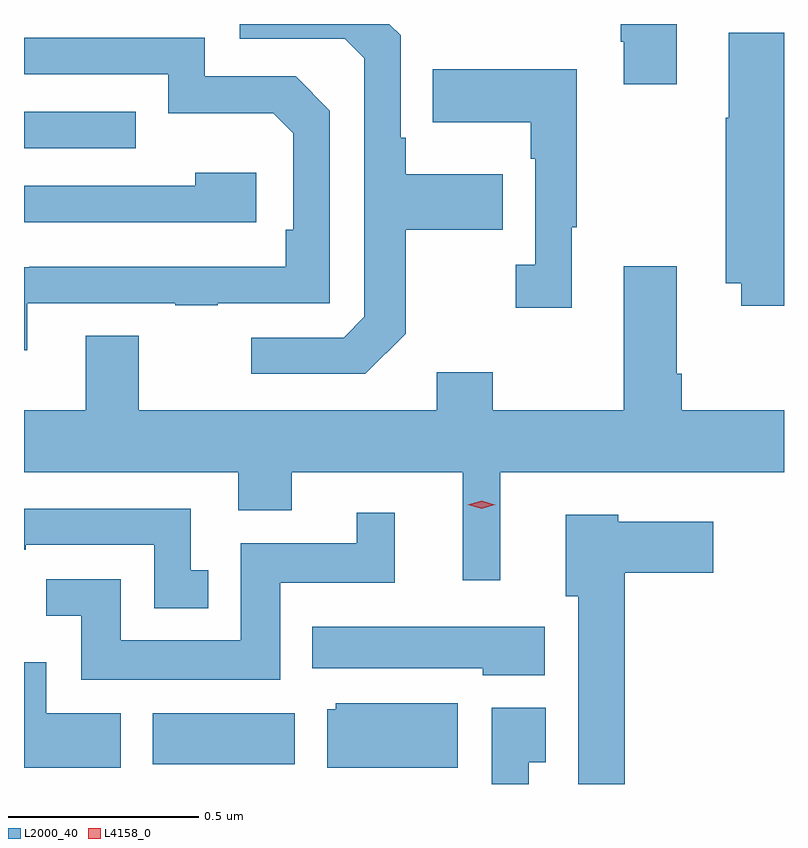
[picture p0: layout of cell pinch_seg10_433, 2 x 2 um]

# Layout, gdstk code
import gdstk
lib = gdstk.Library(unit=1e-6, precision=1e-09)
def R(c, l, rs):  # rectangles x0, y0, x1, y1
    for r in rs: c.add(gdstk.rectangle(r[:2], r[2:], *l))
def P(c, l, *ps):  # polygons
    for p in ps: c.add(gdstk.Polygon(p, *l))
L2000_40 = (2000, 40)
L4158_0 = (4158, 0)

pinch_seg10_433 = lib.new_cell('pinch_seg10_433')
R(pinch_seg10_433, L2000_40, [(384.038,1296.884,384.412,1297.018), (383.699,1298.505,383.993,1298.601)])
P(pinch_seg10_433, L2000_40, [(384.703,1298.017),(384.703,1298.29),(384.959,1298.29),(384.959,1298.437),(384.703,1298.437),(384.703,1298.533),(384.69,1298.533),(384.69,1298.802),(384.66,1298.832),(384.267,1298.832),(384.267,1298.793),(384.543,1298.793),(384.594,1298.742),(384.594,1298.061),(384.54,1298.007),(384.297,1298.007),(384.297,1297.911),(384.597,1297.911)],
  [(385.417,1298.832),(385.27,1298.832),(385.27,1298.785),(385.277,1298.785),(385.277,1298.673),(385.417,1298.673)],
  [(385.699,1298.809),(385.553,1298.809),(385.553,1298.585),(385.546,1298.585),(385.546,1298.15),(385.586,1298.15),(385.586,1298.091),(385.699,1298.091)],
  [(383.707,1298.097),(384.097,1298.097),(384.097,1298.092),(384.209,1298.092),(384.209,1298.097),(384.504,1298.097),(384.504,1298.604),(384.414,1298.694),(384.174,1298.694),(384.174,1298.796),(383.699,1298.796),(383.699,1298.7),(384.078,1298.7),(384.078,1298.597),(384.355,1298.597),(384.408,1298.544),(384.408,1298.29),(384.388,1298.29),(384.388,1298.193),(383.713,1298.193),(383.713,1298.192),(383.699,1298.192),(383.699,1297.974),(383.707,1297.974)],
  [(385.141,1298.297),(385.153,1298.297),(385.153,1298.713),(384.775,1298.713),(384.775,1298.573),(385.032,1298.573),(385.032,1298.477),(385.044,1298.477),(385.044,1298.198),(384.993,1298.198),(384.993,1298.085),(385.141,1298.085)],
  [(384.31,1298.44),(384.149,1298.44),(384.149,1298.406),(383.699,1298.406),(383.699,1298.31),(384.31,1298.31)],
  [(384.785,1297.816),(384.001,1297.816),(384.001,1298.011),(383.861,1298.011),(383.861,1297.816),(383.699,1297.816),(383.699,1297.652),(384.263,1297.652),(384.263,1297.553),(384.403,1297.553),(384.403,1297.652),(384.854,1297.652),(384.854,1297.368),(384.952,1297.368),(384.952,1297.652),(385.699,1297.652),(385.699,1297.816),(385.43,1297.816),(385.43,1297.912),(385.417,1297.912),(385.417,1298.194),(385.277,1298.194),(385.277,1297.816),(384.933,1297.816),(384.933,1297.915),(384.785,1297.915)],
  [(384.184,1297.395),(384.138,1297.395),(384.138,1297.557),(383.699,1297.557),(383.699,1297.449),(383.704,1297.449),(383.704,1297.461),(384.042,1297.461),(384.042,1297.295),(384.184,1297.295)],
  [(384.373,1297.361),(384.674,1297.361),(384.674,1297.546),(384.575,1297.546),(384.575,1297.465),(384.269,1297.465),(384.269,1297.21),(383.953,1297.21),(383.953,1297.371),(383.757,1297.371),(383.757,1297.275),(383.849,1297.275),(383.849,1297.106),(384.373,1297.106)],
  [(385.28,1297.388),(385.513,1297.388),(385.513,1297.522),(385.263,1297.522),(385.263,1297.54),(385.124,1297.54),(385.124,1297.326),(385.157,1297.326),(385.157,1296.832),(385.28,1296.832)],
  [(385.069,1297.246),(384.458,1297.246),(384.458,1297.136),(384.906,1297.136),(384.906,1297.118),(385.069,1297.118)],
  [(383.953,1297.018),(383.758,1297.018),(383.758,1297.153),(383.699,1297.153),(383.699,1296.875),(383.953,1296.875)],
  [(384.841,1297.045),(384.519,1297.045),(384.519,1297.029),(384.497,1297.029),(384.497,1296.875),(384.841,1296.875)],
  [(385.027,1296.889),(385.072,1296.889),(385.072,1297.033),(384.93,1297.033),(384.93,1296.832),(385.027,1296.832)])
P(pinch_seg10_433, L4158_0, [(384.903,1297.557),(384.867,1297.567),(384.867,1297.567),(384.867,1297.567),(384.903,1297.577),(384.938,1297.567),(384.939,1297.567),(384.938,1297.567)])

lib.write_gds('pinch_seg10_433.gds')
